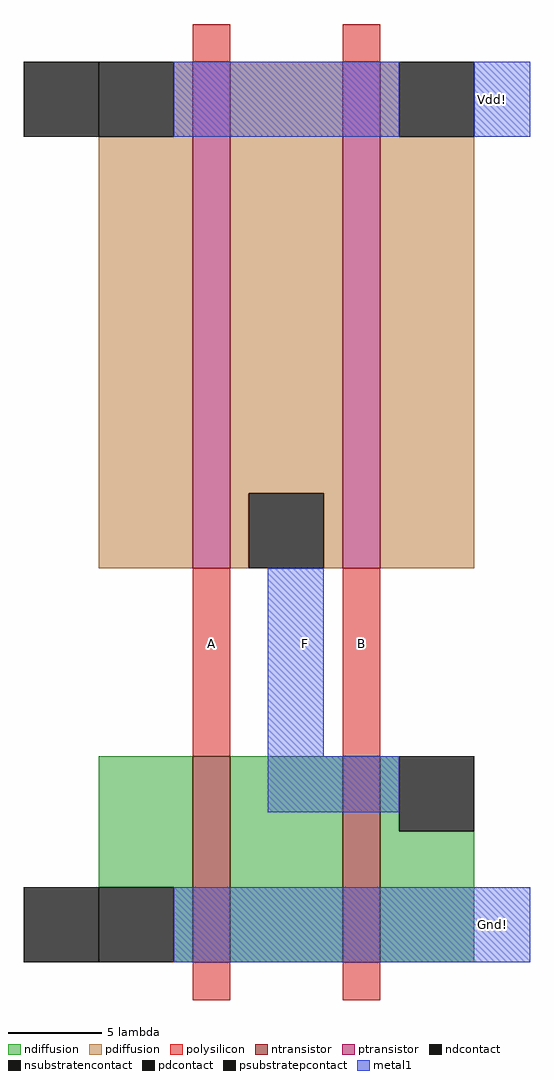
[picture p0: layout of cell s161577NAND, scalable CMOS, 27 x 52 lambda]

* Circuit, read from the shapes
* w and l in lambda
.subckt s161577NAND A B F Gnd! Vdd!
M1 n1 A Gnd! Gnd! nfet w=11 l=2
M2 F B n1 Gnd! nfet w=11 l=2
M3 F A Vdd! Vdd! pfet w=27 l=2
M4 Vdd! B F Vdd! pfet w=27 l=2
.ends

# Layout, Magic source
magic
tech scmos
<< polysilicon >>
rect -8 33 -6 35
rect 0 33 2 35
rect -8 -4 -6 6
rect 0 -4 2 6
rect -8 -17 -6 -15
rect 0 -17 2 -15
<< ndiffusion >>
rect -13 -11 -8 -4
rect -9 -15 -8 -11
rect -6 -15 0 -4
rect 2 -8 3 -4
rect 2 -15 7 -8
<< pdiffusion >>
rect -9 29 -8 33
rect -13 6 -8 29
rect -6 10 0 33
rect -6 6 -5 10
rect -1 6 0 10
rect 2 29 3 33
rect 2 6 7 29
<< metal1 >>
rect -9 29 3 33
rect 7 29 10 33
rect -4 -4 -1 6
rect -4 -7 3 -4
rect -9 -15 10 -11
<< ntransistor >>
rect -8 -15 -6 -4
rect 0 -15 2 -4
<< ptransistor >>
rect -8 6 -6 33
rect 0 6 2 33
<< ndcontact >>
rect -13 -15 -9 -11
rect 3 -8 7 -4
<< pdcontact >>
rect -13 29 -9 33
rect -5 6 -1 10
rect 3 29 7 33
<< psubstratepcontact >>
rect -17 -15 -13 -11
<< nsubstratencontact >>
rect -17 29 -13 33
<< labels >>
rlabel metal1 8 -13 8 -13 7 Gnd!
rlabel polysilicon -7 2 -7 2 1 A
rlabel polysilicon 1 2 1 2 1 B
rlabel metal1 -2 2 -2 2 1 F
rlabel metal1 8 31 8 31 6 Vdd!
<< end >>
